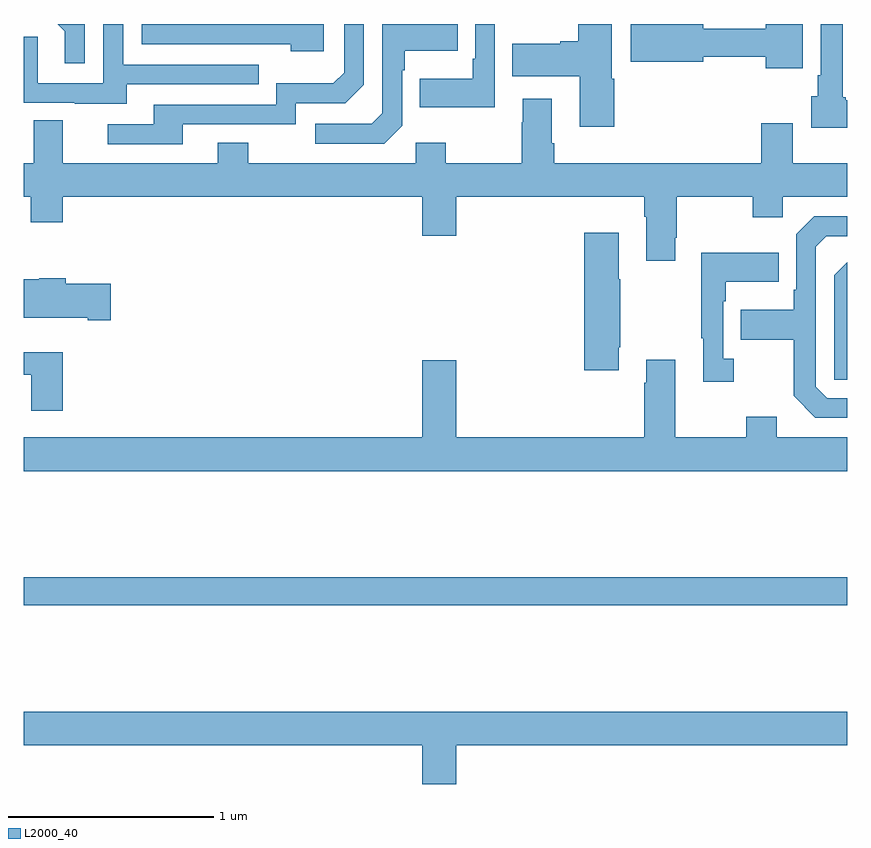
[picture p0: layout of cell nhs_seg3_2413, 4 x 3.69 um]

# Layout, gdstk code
import gdstk
lib = gdstk.Library(unit=1e-6, precision=1e-09)
def R(c, l, rs):  # rectangles x0, y0, x1, y1
    for r in rs: c.add(gdstk.rectangle(r[:2], r[2:], *l))
def P(c, l, *ps):  # polygons
    for p in ps: c.add(gdstk.Polygon(p, *l))
L2000_40 = (2000, 40)

nhs_seg3_2413 = lib.new_cell('nhs_seg3_2413')
R(nhs_seg3_2413, L2000_40, [(235,721.576,239,721.712)])
P(nhs_seg3_2413, L2000_40, [(238.783,724.4),(238.604,724.4),(238.604,724.376),(238.3,724.376),(238.3,724.4),(237.948,724.4),(237.948,724.217),(238.3,724.217),(238.3,724.24),(238.604,724.24),(238.604,724.184),(238.783,724.184)],
  [(237.288,724.399),(237.289,724.399),(237.289,724.4),(237.192,724.4),(237.192,724.231),(237.18,724.231),(237.18,724.135),(236.923,724.135),(236.923,723.995),(237.288,723.995)],
  [(235.771,723.912),(236.322,723.912),(236.322,724.014),(236.562,724.014),(236.652,724.104),(236.652,724.4),(236.556,724.4),(236.556,724.164),(236.503,724.111),(236.226,724.111),(236.226,724.008),(235.631,724.008),(235.631,723.912),(235.407,723.912),(235.407,723.816),(235.771,723.816)],
  [(239,724.03),(238.992,724.03),(238.992,724.044),(238.978,724.044),(238.978,724.4),(238.871,724.4),(238.871,724.15),(238.856,724.15),(238.856,724.05),(238.826,724.05),(238.826,723.896),(239,723.896)],
  [(235.501,724.107),(236.141,724.107),(236.141,724.203),(235.482,724.203),(235.482,724.4),(235.386,724.4),(235.386,724.113),(235.068,724.113),(235.068,724.337),(235,724.337),(235,724.017),(235.247,724.017),(235.247,724.013),(235.501,724.013)],
  [(236.838,723.906),(236.838,724.175),(236.851,724.175),(236.851,724.271),(237.107,724.271),(237.107,724.4),(236.742,724.4),(236.742,723.966),(236.691,723.915),(236.415,723.915),(236.415,723.819),(236.751,723.819)],
  [(236.458,724.398),(235.681,724.398),(235.681,724.4),(235.572,724.4),(235.572,724.302),(236.297,724.302),(236.297,724.268),(236.458,724.268)],
  [(235.296,724.4),(235.164,724.4),(235.199,724.365),(235.199,724.209),(235.296,724.209)],
  [(237.869,724.133),(237.856,724.133),(237.856,724.4),(237.694,724.4),(237.694,724.316),(237.605,724.316),(237.605,724.303),(237.373,724.303),(237.373,724.145),(237.701,724.145),(237.701,723.9),(237.869,723.9)],
  [(238.165,723.361),(238.173,723.361),(238.173,723.56),(238.54,723.56),(238.54,723.461),(238.686,723.461),(238.686,723.56),(239,723.56),(239,723.724),(238.735,723.724),(238.735,723.919),(238.583,723.919),(238.583,723.724),(237.578,723.724),(237.578,723.82),(237.565,723.82),(237.565,724.036),(237.425,724.036),(237.425,723.923),(237.418,723.923),(237.418,723.724),(237.051,723.724),(237.051,723.823),(236.904,723.823),(236.904,723.724),(236.091,723.724),(236.091,723.823),(235.943,723.823),(235.943,723.724),(235.189,723.724),(235.189,723.932),(235.049,723.932),(235.049,723.724),(235,723.724),(235,723.56),(235.033,723.56),(235.033,723.436),(235.19,723.436),(235.19,723.56),(236.936,723.56),(236.936,723.372),(237.1,723.372),(237.1,723.56),(238.013,723.56),(238.013,723.464),(238.025,723.464),(238.025,723.249),(238.165,723.249)],
  [(239,722.583),(238.902,722.583),(238.848,722.637),(238.848,723.318),(238.899,723.369),(239,723.369),(239,723.465),(238.839,723.465),(238.752,723.378),(238.752,723.109),(238.74,723.109),(238.74,723.013),(238.483,723.013),(238.483,722.866),(238.74,722.866),(238.74,722.593),(238.845,722.487),(239,722.487)],
  [(237.889,722.83),(237.897,722.83),(237.897,723.161),(237.889,723.161),(237.889,723.385),(237.722,723.385),(237.722,722.718),(237.889,722.718)],
  [(238.45,722.774),(238.398,722.774),(238.398,723.053),(238.411,723.053),(238.411,723.149),(238.667,723.149),(238.667,723.289),(238.29,723.289),(238.29,722.873),(238.301,722.873),(238.301,722.661),(238.45,722.661)],
  [(239,723.242),(238.938,723.18),(238.938,722.673),(239,722.673)],
  [(235.423,723.138),(235.205,723.138),(235.205,723.166),(235.074,723.166),(235.074,723.16),(235,723.16),(235,722.972),(235.31,722.972),(235.31,722.96),(235.423,722.96)],
  [(235.19,722.806),(235,722.806),(235,722.697),(235.037,722.697),(235.037,722.52),(235.19,722.52)],
  [(239,722.392),(238.657,722.392),(238.657,722.491),(238.51,722.491),(238.51,722.392),(238.165,722.392),(238.165,722.77),(238.025,722.77),(238.025,722.657),(238.013,722.657),(238.013,722.392),(237.1,722.392),(237.1,722.767),(236.936,722.767),(236.936,722.392),(235,722.392),(235,722.228),(239,722.228)],
  [(237.1,720.896),(239,720.896),(239,721.06),(235,721.06),(235,720.896),(236.936,720.896),(236.936,720.708),(237.1,720.708)])

lib.write_gds('nhs_seg3_2413.gds')
